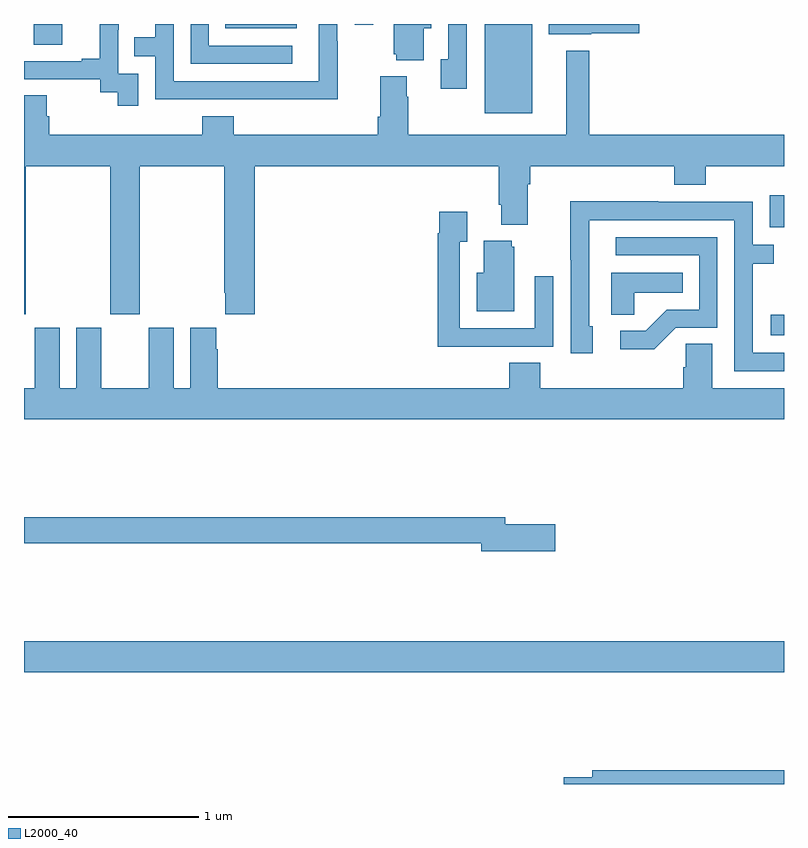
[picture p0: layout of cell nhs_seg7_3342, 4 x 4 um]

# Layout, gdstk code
import gdstk
lib = gdstk.Library(unit=1e-6, precision=1e-09)
def R(c, l, rs):  # rectangles x0, y0, x1, y1
    for r in rs: c.add(gdstk.rectangle(r[:2], r[2:], *l))
def P(c, l, *ps):  # polygons
    for p in ps: c.add(gdstk.Polygon(p, *l))
L2000_40 = (2000, 40)

nhs_seg7_3342 = lib.new_cell('nhs_seg7_3342')
R(nhs_seg7_3342, L2000_40, [(323,1028.588,327,1028.752), (326.931,1030.361,327,1030.471), (326.925,1030.929,327,1031.098), (325.424,1031.531,325.675,1032), (323.052,1031.892,323.2,1032), (324.058,1031.978,324.436,1032), (324.741,1031.997,324.837,1032)])
P(nhs_seg7_3342, L2000_40, [(323.601,1031.739),(323.496,1031.739),(323.496,1031.969),(323.498,1031.969),(323.498,1032),(323.399,1032),(323.399,1031.818),(323.303,1031.818),(323.303,1031.805),(323,1031.805),(323,1031.709),(323.4,1031.709),(323.4,1031.641),(323.493,1031.641),(323.493,1031.571),(323.601,1031.571)],
  [(325.329,1032),(325.233,1032),(325.233,1031.814),(325.193,1031.814),(325.193,1031.658),(325.329,1031.658)],
  [(324.651,1031.909),(324.648,1031.909),(324.648,1032),(324.552,1032),(324.552,1031.7),(323.787,1031.7),(323.787,1032),(323.691,1032),(323.691,1031.93),(323.581,1031.93),(323.581,1031.829),(323.691,1031.829),(323.691,1031.604),(324.187,1031.604),(324.187,1031.603),(324.651,1031.603)],
  [(325.105,1031.978),(325.144,1031.978),(325.144,1032),(324.947,1032),(324.947,1031.841),(324.959,1031.841),(324.959,1031.81),(325.105,1031.81)],
  [(325.986,1031.951),(326.239,1031.951),(326.239,1032),(325.763,1032),(325.763,1031.945),(325.986,1031.945)],
  [(324.412,1031.886),(323.973,1031.886),(323.973,1032),(323.877,1032),(323.877,1031.79),(324.412,1031.79)],
  [(323.01,1031.252),(323.455,1031.252),(323.455,1030.473),(323.61,1030.473),(323.61,1031.252),(324.055,1031.252),(324.055,1030.585),(324.059,1030.585),(324.059,1030.473),(324.215,1030.473),(324.215,1031.252),(325.499,1031.252),(325.499,1031.05),(325.511,1031.05),(325.511,1030.943),(325.651,1030.943),(325.651,1031.156),(325.664,1031.156),(325.664,1031.252),(326.423,1031.252),(326.423,1031.153),(326.588,1031.153),(326.588,1031.252),(327,1031.252),(327,1031.416),(325.975,1031.416),(325.975,1031.86),(325.853,1031.86),(325.853,1031.416),(325.023,1031.416),(325.023,1031.618),(325.015,1031.618),(325.015,1031.725),(324.875,1031.725),(324.875,1031.512),(324.863,1031.512),(324.863,1031.416),(324.104,1031.416),(324.104,1031.515),(323.939,1031.515),(323.939,1031.416),(323.132,1031.416),(323.132,1031.514),(323.119,1031.514),(323.119,1031.624),(323,1031.624),(323,1030.473),(323.01,1030.473)],
  [(327,1030.269),(326.835,1030.269),(326.835,1030.738),(326.945,1030.738),(326.945,1030.839),(326.835,1030.839),(326.835,1031.064),(326.339,1031.064),(326.339,1031.066),(325.876,1031.066),(325.876,1030.759),(325.878,1030.759),(325.878,1030.266),(325.993,1030.266),(325.993,1030.41),(325.974,1030.41),(325.974,1030.968),(326.739,1030.968),(326.739,1030.173),(327,1030.173)],
  [(325.469,1030.302),(325.785,1030.302),(325.785,1030.672),(325.689,1030.672),(325.689,1030.398),(325.293,1030.398),(325.293,1030.855),(325.333,1030.855),(325.333,1031.011),(325.185,1031.011),(325.185,1030.898),(325.177,1030.898),(325.177,1030.301),(325.469,1030.301)],
  [(326.43,1030.401),(326.649,1030.401),(326.649,1030.878),(326.115,1030.878),(326.115,1030.782),(326.553,1030.782),(326.553,1030.497),(326.384,1030.497),(326.273,1030.386),(326.139,1030.386),(326.139,1030.289),(326.317,1030.289)],
  [(325.579,1030.827),(325.568,1030.827),(325.568,1030.858),(325.421,1030.858),(325.421,1030.69),(325.382,1030.69),(325.382,1030.487),(325.579,1030.487)],
  [(326.211,1030.586),(326.468,1030.586),(326.468,1030.69),(326.09,1030.69),(326.09,1030.471),(326.211,1030.471)],
  [(327,1030.084),(326.623,1030.084),(326.623,1030.316),(326.484,1030.316),(326.484,1030.193),(326.471,1030.193),(326.471,1030.084),(325.718,1030.084),(325.718,1030.217),(325.553,1030.217),(325.553,1030.084),(324.02,1030.084),(324.02,1030.289),(324.013,1030.289),(324.013,1030.402),(323.876,1030.402),(323.876,1030.084),(323.788,1030.084),(323.788,1030.402),(323.657,1030.402),(323.657,1030.084),(323.407,1030.084),(323.407,1030.402),(323.276,1030.402),(323.276,1030.084),(323.188,1030.084),(323.188,1030.402),(323.057,1030.402),(323.057,1030.084),(323,1030.084),(323,1029.92),(327,1029.92)],
  [(325.795,1029.368),(325.534,1029.368),(325.534,1029.404),(323,1029.404),(323,1029.268),(325.406,1029.268),(325.406,1029.226),(325.795,1029.226)],
  [(327,1028.072),(325.991,1028.072),(325.991,1028.036),(325.842,1028.036),(325.842,1028),(327,1028)])

lib.write_gds('nhs_seg7_3342.gds')
